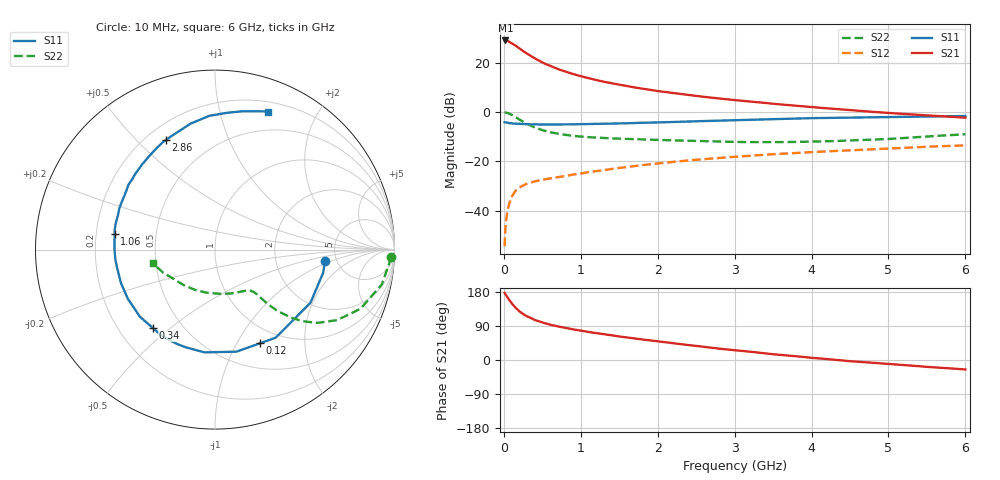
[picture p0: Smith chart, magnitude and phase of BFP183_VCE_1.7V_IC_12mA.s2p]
! Infineon Technologies  Discrete & RF Semiconductors
! BFP183
! VCE = 1.7 V,  IC =  12 mA
! Common Emitter S-Parameters:  Jan 2016
# GHz  S  MA  R  50
!  f  S11  S21  S12  S22
! GHz  MAG  ANG  MAG  ANG  MAG  ANG  MAG  ANG
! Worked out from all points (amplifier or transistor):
!   210 points, 10 MHz to 6 GHz, reference 50 ohm
!   highest |S21| = 28.9 dB at 20 MHz (marker M1)
!   |S21| within 3 dB of that: start of sweep to 193.1 MHz
!   unconditionally stable (mu >= 1): 985.2 MHz to 5.671 GHz
!   at 185 MHz: K = 0.30, MSG = 28.6 dB, |S12| = -31.1 dB
!   at 1.52 GHz: K = 1.14, MAG = 14.5 dB, |S12| = -22.7 dB
!   at 6 GHz: K = 0.95, MSG = 5.6 dB, |S12| = -13.6 dB
!   S11 on the Smith chart (normalised r, x): 10 MHz: 4.03, -0.81; 120 MHz: 0.80, -1.25; 340 MHz: 0.34, -0.44; 1.06 GHz: 0.28, +0.07; 2.86 GHz: 0.28, +0.61; 6 GHz: 0.29, +1.42
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0.01  0.6157 -5.8  27.93 176.9  0.0019 83.7  0.9801 -2.4
0.02  0.6165 -12.0  27.98 173.9  0.0043 85.2  0.9726 -4.8
0.05  0.6087 -29.1  27.35 164.1  0.0104 77.8  0.9494 -11.8
0.1  0.5959 -55.4  24.78 150.0  0.0187 66.6  0.8755 -22.1
0.12  0.5791 -64.3  23.6 145.6  0.0212 62.6  0.8378 -25.1
0.15  0.5812 -78.0  22.13 138.1  0.025 58.1  0.7859 -30.0
0.2  0.5757 -95.9  19.48 128.6  0.0292 53.0  0.7016 -35.6
0.24  0.5681 -106.9  17.51 122.8  0.0316 49.5  0.6439 -38.5
0.3  0.5648 -121.3  15.14 115.3  0.035 46.9  0.5692 -41.8
0.34  0.5574 -128.1  13.9 112.0  0.0365 45.6  0.5345 -42.8
0.4  0.5612 -138.3  12.14 105.7  0.0389 43.8  0.4827 -44.6
0.6  0.5561 -160.2  8.552 93.3  0.0448 42.6  0.3879 -46.3
0.8  0.5579 -174.6  6.539 84.5  0.05 43.8  0.3414 -46.8
1.02  0.5641 173.0  5.171 76.6  0.0571 44.9  0.3138 -48.1
1.06  0.5665 170.9  4.992 75.2  0.0586 45.2  0.3105 -48.4
1.5  0.5827 153.8  3.548 62.1  0.0729 46.4  0.2864 -53.0
2.02  0.613 136.1  2.617 48.7  0.0908 44.8  0.27 -61.8
2.86  0.6689 114.2  1.825 28.7  0.1185 40.0  0.2496 -81.6
3.1  0.6836 108.7  1.675 23.9  0.126 38.3  0.2446 -88.4
4.1  0.749 90.9  1.215 4.2  0.1557 30.6  0.2516 -119.0
5.1  0.7882 77.9  0.928 -11.8  0.1829 23.7  0.2882 -147.2
6  0.8246 68.9  0.762 -25.0  0.2095 15.6  0.3526 -167.4
